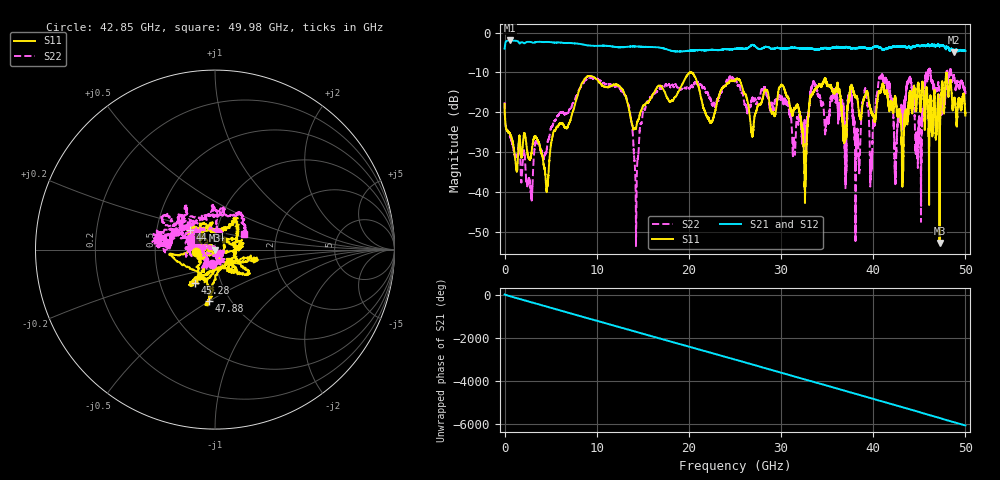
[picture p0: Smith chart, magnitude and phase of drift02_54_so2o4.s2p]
!Created with skrf (http://scikit-rf.org).
# Hz S RI R 50.0
!freq ReS11 ImS11 ReS21 ImS21 ReS12 ImS12 ReS22 ImS22
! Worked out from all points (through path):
!   10001 points, 300 kHz to 50 GHz, reference 50 ohm
!   highest |S21| = -1.99 dB at 595.3 MHz (marker M1); lowest = -4.9 dB at 48.77 GHz (marker M2)
!   group delay of S21, straight-line fit = 337 ps
!   lowest |S11| = -52.7 dB at 47.2 GHz (marker M3), VSWR 1.00, Z = 49.8 - j0.153 ohm
!   |S11| at or under -10 dB: start of sweep to 20.06 GHz; 20.20757 GHz to 20.21652 GHz (8.953 MHz wide, 0.0443 % of centre); 20.24 GHz to end of sweep (the widest 3 of 8)
!   |S22| runs from -53.5 to -9.0 dB; largest |S21 - S12| = 0.038
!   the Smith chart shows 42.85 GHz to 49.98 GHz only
!   S11 on the Smith chart (normalised r, x): 42.85 GHz: 0.81, -0.03; 44.04 GHz: 0.74, +0.17; 45.28 GHz: 0.75, -0.29; 47.88 GHz: 0.79, -0.49; 49.98 GHz: 1.16, -0.15
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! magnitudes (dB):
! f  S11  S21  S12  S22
! 300 kHz  -17.9  -4.0  -4.0  -17.5
! 595.3 MHz  -25.4  -2.0  -2.0  -26.1
! 4.565 GHz  -39.8  -2.4  -2.4  -29.4
! 8.335 GHz  -13.0  -3.0  -2.9  -13.2
! 13 GHz  -15.3  -3.6  -3.6  -15.6
! 14.28 GHz  -23.8  -3.5  -3.5  -48.6
! 16.67 GHz  -13.3  -3.7  -3.7  -14.5
! 25 GHz  -12.1  -4.1  -4.1  -12.1
! 30.18 GHz  -13.3  -4.1  -4.1  -16.5
! 32.58 GHz  -38.3  -4.0  -4.0  -24.4
! 33.34 GHz  -15.8  -4.0  -4.1  -13.5
! 37.49 GHz  -14.6  -3.8  -3.9  -16.1
! 38.29 GHz  -16.8  -3.9  -3.9  -24.4
! 41.67 GHz  -18.2  -3.7  -3.9  -12.6
! 42.85 GHz  -19.3  -3.5  -3.5  -22.1
! 44.04 GHz  -15.1  -3.9  -3.9  -11.4
! 45.28 GHz  -13.3  -3.2  -3.2  -25.0
! 47.2 GHz  -52.7  -3.4  -3.4  -16.3
! 47.88 GHz  -10.8  -4.0  -4.0  -12.6
! 48.77 GHz  -16.7  -4.9  -4.8  -10.7
! 49.98 GHz  -19.9  -4.6  -4.5  -14.9
! 50 GHz  -20.8  -4.6  -4.6  -15.1
